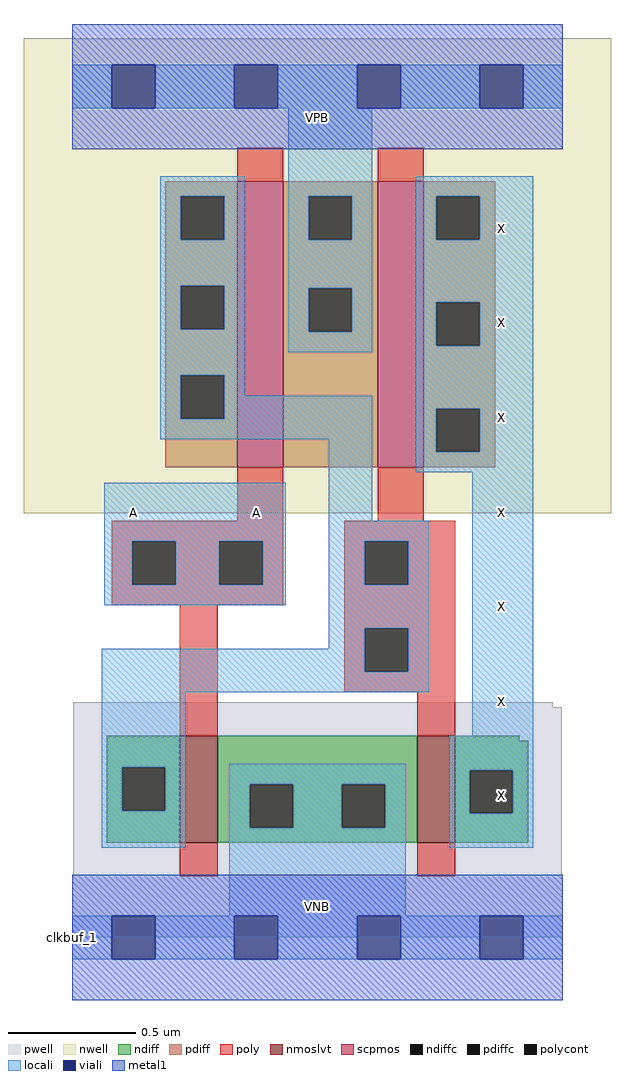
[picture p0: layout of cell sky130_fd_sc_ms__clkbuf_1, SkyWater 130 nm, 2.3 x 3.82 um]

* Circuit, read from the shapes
.subckt sky130_fd_sc_ms__clkbuf_1 A VGND VNB VPB VPWR X
XM1 VGND A n1 VNB sky130_fd_pr__nfet_01v8_lvt w=0.42 l=0.15
XM2 X n1 VGND VNB sky130_fd_pr__nfet_01v8_lvt w=0.42 l=0.15
XM3 VPWR A n1 VPB sky130_fd_pr__pfet_01v8 w=1.12 l=0.18
XM4 X n1 VPWR VPB sky130_fd_pr__pfet_01v8 w=1.12 l=0.18
.ends

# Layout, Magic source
magic
tech sky130A
magscale 1 2
<< nwell >>
rect -38 332 422 704
<< pwell >>
rect 1 180 376 184
rect 1 49 383 180
rect 0 0 384 49
<< scpmos >>
rect 129 368 165 592
rect 239 368 275 592
<< nmoslvt >>
rect 84 74 114 158
rect 270 74 300 158
<< ndiff >>
rect 27 133 84 158
rect 27 99 39 133
rect 73 99 84 133
rect 27 74 84 99
rect 114 120 270 158
rect 114 86 139 120
rect 173 86 211 120
rect 245 86 270 120
rect 114 74 270 86
rect 300 154 350 158
rect 300 131 357 154
rect 300 97 311 131
rect 345 97 357 131
rect 300 74 357 97
<< pdiff >>
rect 73 580 129 592
rect 73 546 85 580
rect 119 546 129 580
rect 73 510 129 546
rect 73 476 85 510
rect 119 476 129 510
rect 73 440 129 476
rect 73 406 85 440
rect 119 406 129 440
rect 73 368 129 406
rect 165 580 239 592
rect 165 546 185 580
rect 219 546 239 580
rect 165 508 239 546
rect 165 474 185 508
rect 219 474 239 508
rect 165 368 239 474
rect 275 580 331 592
rect 275 546 285 580
rect 319 546 331 580
rect 275 497 331 546
rect 275 463 285 497
rect 319 463 331 497
rect 275 414 331 463
rect 275 380 285 414
rect 319 380 331 414
rect 275 368 331 380
<< ndiffc >>
rect 39 99 73 133
rect 139 86 173 120
rect 211 86 245 120
rect 311 97 345 131
<< pdiffc >>
rect 85 546 119 580
rect 85 476 119 510
rect 85 406 119 440
rect 185 546 219 580
rect 185 474 219 508
rect 285 546 319 580
rect 285 463 319 497
rect 285 380 319 414
<< poly >>
rect 129 592 165 618
rect 239 592 275 618
rect 129 326 165 368
rect 239 326 275 368
rect 31 310 165 326
rect 31 276 47 310
rect 81 276 115 310
rect 149 276 165 310
rect 31 260 165 276
rect 213 310 300 326
rect 213 276 229 310
rect 263 276 300 310
rect 84 158 114 260
rect 213 242 300 276
rect 213 208 229 242
rect 263 208 300 242
rect 213 192 300 208
rect 270 158 300 192
rect 84 48 114 74
rect 270 48 300 74
<< polycont >>
rect 47 276 81 310
rect 115 276 149 310
rect 229 276 263 310
rect 229 208 263 242
<< locali >>
rect 0 649 31 683
rect 65 649 127 683
rect 161 649 223 683
rect 257 649 319 683
rect 353 649 384 683
rect 69 580 135 596
rect 69 546 85 580
rect 119 546 135 580
rect 69 510 135 546
rect 69 476 85 510
rect 119 476 135 510
rect 69 440 135 476
rect 169 580 235 649
rect 169 546 185 580
rect 219 546 235 580
rect 169 508 235 546
rect 169 474 185 508
rect 219 474 235 508
rect 169 458 235 474
rect 269 580 361 596
rect 269 546 285 580
rect 319 546 361 580
rect 269 497 361 546
rect 269 463 285 497
rect 319 463 361 497
rect 69 406 85 440
rect 119 424 135 440
rect 119 406 235 424
rect 69 390 235 406
rect 25 310 167 356
rect 25 276 47 310
rect 81 276 115 310
rect 149 276 167 310
rect 25 260 167 276
rect 201 326 235 390
rect 269 414 361 463
rect 269 380 285 414
rect 319 380 361 414
rect 269 364 361 380
rect 201 310 279 326
rect 201 276 229 310
rect 263 276 279 310
rect 201 242 279 276
rect 201 226 229 242
rect 23 208 229 226
rect 263 208 279 242
rect 23 192 279 208
rect 23 133 89 192
rect 313 158 361 364
rect 23 99 39 133
rect 73 99 89 133
rect 23 70 89 99
rect 123 120 261 136
rect 123 86 139 120
rect 173 86 211 120
rect 245 86 261 120
rect 123 17 261 86
rect 295 131 361 158
rect 295 97 311 131
rect 345 97 361 131
rect 295 70 361 97
rect 0 -17 31 17
rect 65 -17 127 17
rect 161 -17 223 17
rect 257 -17 319 17
rect 353 -17 384 17
<< viali >>
rect 31 649 65 683
rect 127 649 161 683
rect 223 649 257 683
rect 319 649 353 683
rect 31 -17 65 17
rect 127 -17 161 17
rect 223 -17 257 17
rect 319 -17 353 17
<< metal1 >>
rect 0 683 384 715
rect 0 649 31 683
rect 65 649 127 683
rect 161 649 223 683
rect 257 649 319 683
rect 353 649 384 683
rect 0 617 384 649
rect 0 17 384 49
rect 0 -17 31 17
rect 65 -17 127 17
rect 161 -17 223 17
rect 257 -17 319 17
rect 353 -17 384 17
rect 0 -49 384 -17
<< labels >>
flabel pwell s 0 0 384 49 0 FreeSans 200 0 0 0 VNB
port 3 nsew ground bidirectional
flabel nwell s 0 617 384 666 0 FreeSans 200 0 0 0 VPB
port 4 nsew power bidirectional
rlabel comment s 0 0 0 0 4 clkbuf_1
flabel metal1 s 0 617 384 666 0 FreeSans 340 0 0 0 VPWR
port 5 nsew power bidirectional
flabel metal1 s 0 0 384 49 0 FreeSans 340 0 0 0 VGND
port 2 nsew ground bidirectional
flabel locali s 31 316 65 350 0 FreeSans 340 0 0 0 A
port 1 nsew signal input
flabel locali s 127 316 161 350 0 FreeSans 340 0 0 0 A
port 1 nsew signal input
flabel locali s 319 94 353 128 0 FreeSans 340 0 0 0 X
port 6 nsew signal output
flabel locali s 319 168 353 202 0 FreeSans 340 0 0 0 X
port 6 nsew signal output
flabel locali s 319 242 353 276 0 FreeSans 340 0 0 0 X
port 6 nsew signal output
flabel locali s 319 316 353 350 0 FreeSans 340 0 0 0 X
port 6 nsew signal output
flabel locali s 319 390 353 424 0 FreeSans 340 0 0 0 X
port 6 nsew signal output
flabel locali s 319 464 353 498 0 FreeSans 340 0 0 0 X
port 6 nsew signal output
flabel locali s 319 538 353 572 0 FreeSans 340 0 0 0 X
port 6 nsew signal output
<< properties >>
string LEFsite unit
string LEFclass CORE
string FIXED_BBOX 0 0 384 666
string GDS_FILE $PDKPATH/libs.ref/sky130_fd_sc_ms/gds/sky130_fd_sc_ms.gds
string LEFsymmetry X Y
string GDS_END 683376
string GDS_START 678644
<< end >>
